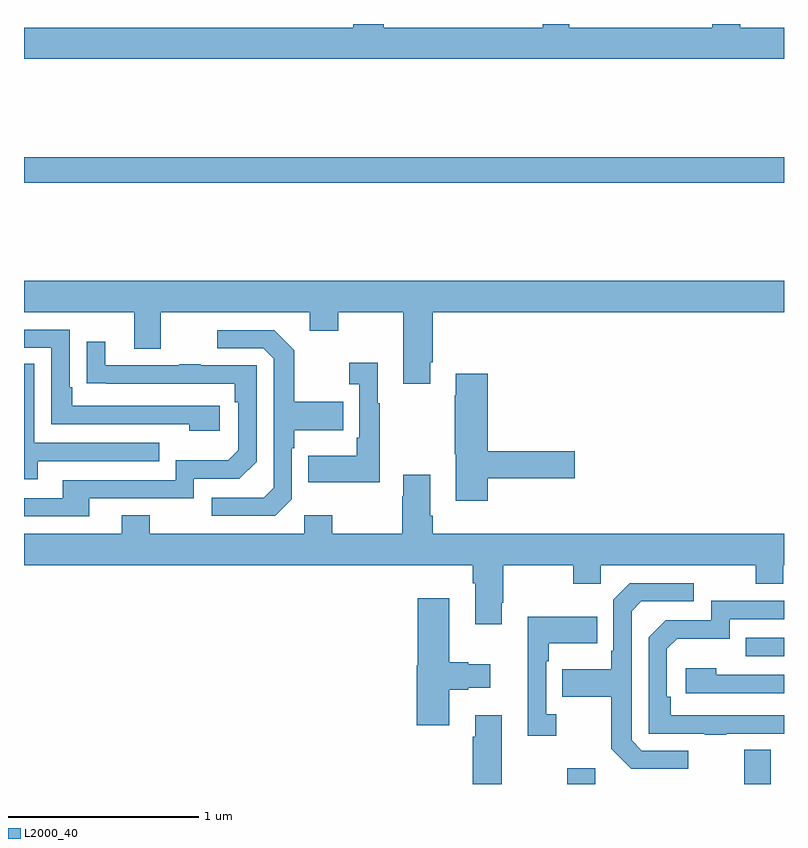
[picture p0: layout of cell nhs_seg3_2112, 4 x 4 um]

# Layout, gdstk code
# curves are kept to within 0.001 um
import gdstk
lib = gdstk.Library(unit=1e-6, precision=1e-09)
def R(c, l, rs):  # rectangles x0, y0, x1, y1
    for r in rs: c.add(gdstk.rectangle(r[:2], r[2:], *l))
def P(c, l, *ps):  # polygons
    for p in ps: c.add(gdstk.Polygon(p, *l))
L2000_40 = (2000, 40)

nhs_seg3_2112 = lib.new_cell('nhs_seg3_2112')
R(nhs_seg3_2112, L2000_40, [(221.86,730.4,222.007,730.483), (222.791,730.4,222.931,730.579), (222.799,731.073,223,731.169), (219,733.564,223,733.7)])
P(nhs_seg3_2112, L2000_40, [(223,734.38),(222.771,734.38),(222.771,734.4),(222.623,734.4),(222.623,734.38),(221.869,734.38),(221.869,734.4),(221.729,734.4),(221.729,734.38),(220.893,734.38),(220.893,734.4),(220.733,734.4),(220.733,734.38),(219,734.38),(219,734.216),(223,734.216)],
  [(221.137,732.619),(221.15,732.619),(221.15,732.884),(223,732.884),(223,733.048),(219,733.048),(219,732.884),(219.581,732.884),(219.581,732.69),(219.721,732.69),(219.721,732.884),(220.505,732.884),(220.505,732.785),(220.653,732.785),(220.653,732.884),(220.997,732.884),(220.997,732.507),(221.137,732.507)],
  [(220.03,732.39),(219.253,732.39),(219.253,732.487),(219.24,732.487),(219.24,732.792),(219,732.792),(219,732.696),(219.144,732.696),(219.144,732.294),(219.869,732.294),(219.869,732.26),(220.03,732.26)],
  [(220.41,731.898),(220.41,732.167),(220.423,732.167),(220.423,732.263),(220.679,732.263),(220.679,732.411),(220.423,732.411),(220.423,732.683),(220.317,732.789),(220.017,732.789),(220.017,732.693),(220.26,732.693),(220.314,732.639),(220.314,731.958),(220.263,731.907),(219.987,731.907),(219.987,731.811),(220.323,731.811)],
  [(219.343,731.904),(219.894,731.904),(219.894,732.006),(220.134,732.006),(220.224,732.096),(220.224,732.603),(219.929,732.603),(219.929,732.608),(219.817,732.608),(219.817,732.603),(219.427,732.603),(219.427,732.727),(219.331,732.727),(219.331,732.508),(220.108,732.507),(220.108,732.41),(220.128,732.41),(220.128,732.156),(220.075,732.103),(219.798,732.103),(219.798,732),(219.203,732),(219.203,731.904),(219,731.904),(219,731.808),(219.343,731.808)],
  [(220.873,732.403),(220.861,732.403),(220.861,732.616),(220.713,732.616),(220.713,732.503),(220.764,732.503),(220.764,732.223),(220.752,732.223),(220.752,732.127),(220.495,732.127),(220.495,731.987),(220.873,731.987)],
  [(219.073,732.099),(219.713,732.099),(219.713,732.195),(219.054,732.195),(219.054,732.611),(219,732.611),(219,732.005),(219.073,732.005)],
  [(221.441,732.01),(221.899,732.01),(221.899,732.152),(221.441,732.152),(221.441,732.559),(221.273,732.559),(221.273,732.446),(221.266,732.446),(221.266,732.135),(221.273,732.135),(221.273,731.892),(221.441,731.892)],
  [(221.515,731.353),(221.523,731.353),(221.523,731.552),(221.89,731.552),(221.89,731.453),(222.036,731.453),(222.036,731.552),(222.85,731.552),(222.85,731.453),(222.997,731.453),(222.997,731.552),(223,731.552),(223,731.716),(221.15,731.716),(221.15,731.812),(221.137,731.812),(221.137,732.028),(220.997,732.028),(220.997,731.915),(220.99,731.915),(220.99,731.716),(220.623,731.716),(220.623,731.815),(220.476,731.815),(220.476,731.716),(219.663,731.716),(219.663,731.815),(219.515,731.815),(219.515,731.716),(219,731.716),(219,731.552),(221.363,731.552),(221.363,731.456),(221.375,731.456),(221.375,731.241),(221.515,731.241)],
  [(222.496,730.575),(222.252,730.575),(222.198,730.629),(222.198,731.31),(222.249,731.361),(222.526,731.361),(222.526,731.457),(222.189,731.457),(222.102,731.37),(222.102,731.101),(222.09,731.101),(222.09,731.005),(221.833,731.005),(221.833,730.858),(222.09,730.858),(222.09,730.585),(222.195,730.479),(222.496,730.479)],
  [(221.239,730.895),(221.339,730.895),(221.339,730.907),(221.455,730.907),(221.455,731.029),(221.339,731.029),(221.339,731.042),(221.239,731.042),(221.239,731.377),(221.072,731.377),(221.072,731.025),(221.066,731.025),(221.066,730.71),(221.239,730.71)],
  [(222.695,730.665),(223,730.665),(223,730.761),(222.404,730.761),(222.404,730.858),(222.384,730.858),(222.384,731.112),(222.437,731.165),(222.714,731.165),(222.714,731.268),(223,731.268),(223,731.364),(222.618,731.364),(222.618,731.262),(222.378,731.262),(222.288,731.172),(222.288,730.665),(222.583,730.665),(222.583,730.66),(222.695,730.66)],
  [(221.8,730.766),(221.748,730.766),(221.748,731.045),(221.761,731.045),(221.761,731.141),(222.017,731.141),(222.017,731.281),(221.651,731.281),(221.651,730.653),(221.8,730.653)],
  [(223,730.974),(222.644,730.974),(222.644,731.008),(222.483,731.008),(222.483,730.878),(223,730.878)],
  [(221.515,730.762),(221.375,730.762),(221.375,730.649),(221.363,730.649),(221.363,730.4),(221.515,730.4)])

lib.write_gds('nhs_seg3_2112.gds')
